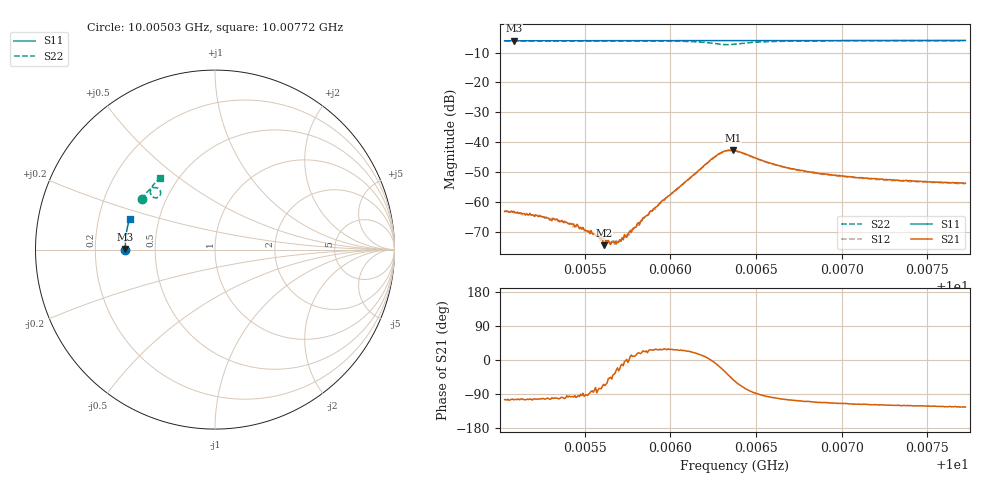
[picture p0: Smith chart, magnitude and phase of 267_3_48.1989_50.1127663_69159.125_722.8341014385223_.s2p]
#  HZ  S  RI  R  50.00
! Rohde & Schwarz Vector Network Analyzer
! Rohde-Schwarz,ZNB20-2Port,1311601062101988,3.16
! Created: UTC 3/20/2024, 11:48:01 AM
! freq[Hz]  re:S11  im:S11  re:S21  im:S21  re:S12  im:S12  re:S22  im:S22
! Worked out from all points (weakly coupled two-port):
!   401 points, 10.00503 GHz to 10.00772 GHz, reference 50 ohm
!   highest |S21| = -42.68 dB at 10.00636 GHz (marker M1); lowest = -74.5 dB at 10.00561 GHz (marker M2)
!   lowest |S11| = -6.0 dB at 10.00509 GHz (marker M3), VSWR 3.00, Z = 16.7 + j0.141 ohm
!   |S11| at or under -10 dB: nowhere
!   |S22| runs from -7.3 to -6.0 dB; largest |S21 - S12| = 0.00042
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1.0005031e10  -0.4996 -0.000212  -0.000173 -0.00067  -0.000132 -0.000668  -0.4081 0.2798
1.0005085e10  -0.4996 0.00316  -0.000179 -0.00067  -0.000131 -0.000646  -0.406 0.2828
1.0005321e10  -0.4998 0.0187  -9e-05 -0.000504  -4.95e-05 -0.000513  -0.3967 0.2969
1.0005408e10  -0.4999 0.0243  -4.01e-05 -0.000424  -5.04e-05 -0.00043  -0.3931 0.3021
1.0005482e10  -0.4997 0.0292  -2.29e-05 -0.000348  1.22e-07 -0.000351  -0.3897 0.3067
1.0005549e10  -0.4996 0.0334  2.43e-05 -0.000283  4.68e-05 -0.000288  -0.3868 0.3107
1.000561e10  -0.4994 0.0373  8.09e-05 -0.000169  8.24e-05 -0.00023  -0.3836 0.3146
1.0005637e10  -0.4994 0.0392  0.00015 -0.000172  0.00013 -0.000161  -0.3824 0.3161
1.0005664e10  -0.4992 0.0408  0.000163 -0.000135  0.000195 -0.000116  -0.3808 0.3177
1.0005704e10  -0.499 0.0435  0.000213 -9.23e-05  0.000225 -5.83e-05  -0.3785 0.3202
1.0005758e10  -0.4992 0.0469  0.000308 -1.72e-06  0.000276 2.95e-05  -0.3755 0.3238
1.0005812e10  -0.4987 0.0505  0.000424 0.000148  0.000375 0.000157  -0.372 0.3273
1.0005879e10  -0.4983 0.0548  0.000608 0.000306  0.000626 0.000317  -0.3672 0.3317
1.0005933e10  -0.498 0.0583  0.000822 0.000415  0.000789 0.000433  -0.3627 0.3353
1.0006249e10  -0.4954 0.0786  0.00543 -0.000374  0.0053 -0.000109  -0.3079 0.3325
1.000631e10  -0.4948 0.0822  0.00621 -0.00318  0.00618 -0.0028  -0.3043 0.3071
1.0006364e10  -0.4945 0.0854  0.00464 -0.00569  0.00482 -0.00535  -0.3224 0.2897
1.0006377e10  -0.4944 0.0862  0.00404 -0.006  0.00422 -0.00567  -0.3284 0.2885
1.0006626e10  -0.4923 0.1022  -0.000783 -0.00402  -0.00065 -0.00398  -0.3592 0.33
1.0006828e10  -0.4899 0.115  -0.00111 -0.00294  -0.000961 -0.00293  -0.3501 0.3504
1.0007279e10  -0.4833 0.1433  -0.00116 -0.00206  -0.00105 -0.00203  -0.3277 0.3785
1.0007723e10  -0.4754 0.1707  -0.00115 -0.0017  -0.00102 -0.00173  -0.3049 0.3999
